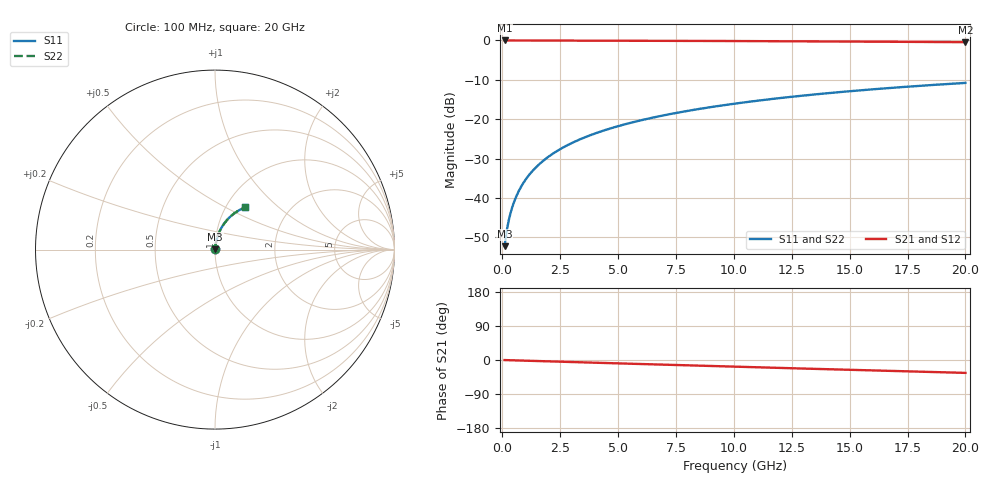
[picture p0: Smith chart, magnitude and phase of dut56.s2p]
! Touchstone file exported from HFSS 2026.1.0
!  File:  C:/ffzhzh/LocalFiles/Ansys_Project_Files/temp_train_TMRDL_56_1782880922_42304.aedt
!  Generated:  12:43:21 PM Jul  1, 2026
!  Design:  TMRDL
!  Project:  temp_train_TMRDL_56_1782880922_42304
! Variables:
!  h_bsmrdl = 2um
!  h_ox = 20um
!  h_rdl = 5um
!  h_sub = 80um
!  h_tmrdl = 4.72um
!  h_tsv = 80um
!  h_via = 3um
!  l_bsmrdl = 300um
!  l_sub = 897.66um
!  l_tmrdl = 497.66um
!  m_sub = 200um
!  pitch = 52.51um
!  r_tsv = 6um
!  s_tmrdl = 10um
!  w_bsmrdl = 18um
!  w_sub = 500um
!  w_tmrdl = 26.95um
!  x_tsv_center1 = 511.135um
!  x_tsv_center2 = 829.135um
!  x_tsv_center3 = 1353.745um
!  x_tsv_center4 = 1671.745um
!  x_tsv_center5 = 2196.355um
!  x_tsv_center6 = 2514.355um
# GHz S MA R 50.000000
! Terminal data exported
! Port[1] = TM_RDL1_1_T1
! Port[2] = TM_RDL1_1_T2
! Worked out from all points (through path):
!   200 points, 100 MHz to 20 GHz, reference 50 ohm
!   highest |S21| = -0.01 dB at 100 MHz (marker M1); lowest = -0.5 dB at 20 GHz (marker M2)
!   group delay of S21, straight-line fit = 4.72 ps
!   lowest |S11| = -52.3 dB at 100 MHz (marker M3), VSWR 1.00, Z = 50.2 + j0.185 ohm
!   |S11| at or under -10 dB: start of sweep to end of sweep
!   |S22| runs from -52.3 to -10.8 dB; largest |S21 - S12| = 2.7e-15
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0.1  0.002439 49.1  0.9984 -0.2  0.9984 -0.2  0.002439 49.1
! Gamma 0 0 0 0
! Port Impedance 50 0 50 0
0.2  0.003972 63.9  0.9983 -0.4  0.9983 -0.4  0.003972 63.9
0.3  0.005552 70.3  0.9982 -0.6  0.9982 -0.6  0.005552 70.3
0.4  0.007149 74.0  0.9981 -0.7  0.9981 -0.7  0.007149 74.0
0.5  0.008763 76.4  0.998 -0.9  0.998 -0.9  0.008763 76.4
0.7  0.01203 79.2  0.9979 -1.3  0.9979 -1.3  0.01203 79.2
0.8  0.01367 80.0  0.9979 -1.5  0.9979 -1.5  0.01367 80.0
1  0.01697 81.1  0.9978 -1.8  0.9978 -1.8  0.01697 81.1
1.2  0.02027 81.7  0.9976 -2.2  0.9976 -2.2  0.02027 81.7
1.4  0.02357 82.0  0.9975 -2.5  0.9975 -2.5  0.02357 82.0
1.7  0.02852 82.2  0.9972 -3.1  0.9972 -3.1  0.02852 82.2
2  0.03345 82.1  0.9969 -3.6  0.9969 -3.6  0.03345 82.1
2.7  0.04486 81.5  0.9961 -4.9  0.9961 -4.9  0.04486 81.5
3.5  0.05774 80.4  0.995 -6.3  0.995 -6.3  0.05774 80.4
4.2  0.06888 79.4  0.9939 -7.5  0.9939 -7.5  0.06888 79.4
5  0.08145 78.2  0.9925 -8.9  0.9925 -8.9  0.08145 78.2
6.8  0.1092 75.4  0.989 -12.0  0.989 -12.0  0.1092 75.3
8.3  0.1318 73.0  0.9857 -14.6  0.9857 -14.6  0.1318 73.0
10.1  0.1583 70.1  0.9813 -17.7  0.9813 -17.7  0.1583 70.1
13.4  0.2048 64.8  0.9718 -23.3  0.9718 -23.3  0.2048 64.8
16.7  0.2483 59.6  0.9611 -28.7  0.9611 -28.7  0.2483 59.6
20  0.2885 54.4  0.9493 -34.0  0.9493 -34.0  0.2885 54.4
